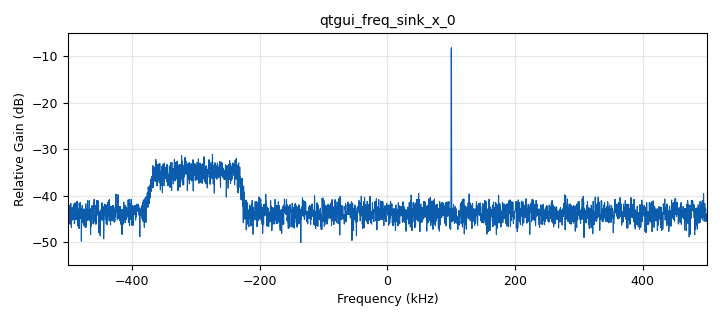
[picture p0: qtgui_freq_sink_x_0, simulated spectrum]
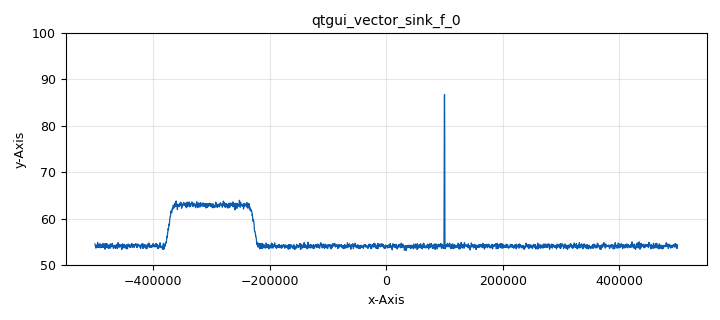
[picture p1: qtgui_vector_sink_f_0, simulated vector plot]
options:
  parameters:
    author: Daniel Estevez
    generate_options: qt_gui
    id: spectral_analysis
    output_language: python
    title: Spectral Analysis
  states: {}

blocks:
- name: decimation
  id: variable
  parameters:
    value: round(t_int * samp_rate / nfft)
  states: {}
- name: n0
  id: variable
  parameters:
    value: noise_amplitude**2 / samp_rate
  states: {}
- name: nfft
  id: variable
  parameters:
    value: '4096'
  states: {}
- name: noise_amplitude
  id: variable
  parameters:
    value: '1'
  states: {}
- name: samp_rate
  id: variable
  parameters:
    value: '1_000_000'
  states: {}
- name: t_int
  id: variable
  parameters:
    value: '1'
  states: {}
- name: tone_cn0
  id: variable_qtgui_entry
  parameters:
    label: Tone CN0
    type: real
    value: '60'
  states: {}
- name: tone_frequency
  id: variable_qtgui_entry
  parameters:
    label: Tone Frequency
    type: real
    value: 100e3
  states: {}
- name: wideband_bandwidth
  id: variable_qtgui_entry
  parameters:
    label: Wideband Bandwidth
    type: real
    value: 150e3
  states: {}
- name: wideband_cn0
  id: variable_qtgui_entry
  parameters:
    label: Wideband CN0
    type: real
    value: '60'
  states: {}
- name: wideband_frequency
  id: variable_qtgui_entry
  parameters:
    label: Wideband Frequency
    type: real
    value: '-300e3'
  states: {}
- name: analog_noise_source_x_0
  id: analog_noise_source_x
  parameters:
    amp: noise_amplitude
    noise_type: analog.GR_GAUSSIAN
    seed: '0'
    type: complex
  states: {}
- name: analog_noise_source_x_1
  id: analog_noise_source_x
  parameters:
    amp: np.sqrt(10**(wideband_cn0 / 10) * n0)
    noise_type: analog.GR_GAUSSIAN
    seed: '0'
    type: complex
  states: {}
- name: analog_sig_source_x_0
  id: analog_sig_source_x
  parameters:
    amp: np.sqrt(10**(tone_cn0 / 10) * n0)
    freq: tone_frequency
    offset: '0'
    phase: '0'
    samp_rate: samp_rate
    type: complex
    waveform: analog.GR_COS_WAVE
  states: {}
- name: analog_sig_source_x_1
  id: analog_sig_source_x
  parameters:
    amp: '1'
    freq: wideband_frequency
    offset: '0'
    phase: '0'
    samp_rate: samp_rate
    type: complex
    waveform: analog.GR_COS_WAVE
  states: {}
- name: blocks_add_xx_0
  id: blocks_add_xx
  parameters:
    num_inputs: '3'
    type: complex
  states: {}
- name: blocks_complex_to_mag_squared_0
  id: blocks_complex_to_mag_squared
  parameters:
    vlen: nfft
  states: {}
- name: blocks_integrate_xx_0
  id: blocks_integrate_xx
  parameters:
    decim: decimation
    type: float
    vlen: nfft
  states: {}
- name: blocks_multiply_xx_0
  id: blocks_multiply_xx
  parameters:
    type: complex
  states: {}
- name: blocks_nlog10_ff_0
  id: blocks_nlog10_ff
  parameters:
    k: '0'
    n: '10'
    vlen: nfft
  states: {}
- name: blocks_repeat_0
  id: blocks_repeat
  parameters:
    interp: '100'
    type: float
    vlen: nfft
  states: {}
- name: blocks_stream_to_vector_0
  id: blocks_stream_to_vector
  parameters:
    num_items: '4096'
    type: complex
  states: {}
- name: blocks_throttle2_0
  id: blocks_throttle2
  parameters:
    samples_per_second: samp_rate
    type: complex
  states: {}
- name: fft_vxx_0
  id: fft_vxx
  parameters:
    fft_size: nfft
    forward: 'True'
    shift: 'True'
    type: complex
    window: window.blackmanharris(nfft)
  states: {}
- name: import_0
  id: import
  parameters:
    imports: import numpy as np
  states: {}
- name: pfb_arb_resampler_xxx_0
  id: pfb_arb_resampler_xxx
  parameters:
    atten: '100'
    nfilts: '32'
    rrate: samp_rate / wideband_bandwidth
    type: ccf
  states: {}
- name: qtgui_freq_sink_x_0
  id: qtgui_freq_sink_x
  parameters:
    average: '0.1'
    bw: samp_rate
    fc: '0'
    fftsize: '4096'
    type: complex
    wintype: window.WIN_BLACKMAN
    ymax: '-5'
    ymin: '-55'
  states: {}
- name: qtgui_vector_sink_f_0
  id: qtgui_vector_sink_f
  parameters:
    vlen: nfft
    x_start: '-samp_rate/2'
    x_step: samp_rate/nfft
    ymax: '100'
    ymin: '50'
  states: {}
- name: virtual_sink_0
  id: virtual_sink
  parameters:
    stream_id: signal
  states: {}
- name: virtual_source_0
  id: virtual_source
  parameters:
    stream_id: signal
  states: {}

connections:
- [analog_noise_source_x_0, '0', blocks_throttle2_0, '0']
- [analog_noise_source_x_1, '0', pfb_arb_resampler_xxx_0, '0']
- [analog_sig_source_x_0, '0', blocks_add_xx_0, '1']
- [analog_sig_source_x_1, '0', blocks_multiply_xx_0, '1']
- [blocks_add_xx_0, '0', qtgui_freq_sink_x_0, '0']
- [blocks_add_xx_0, '0', virtual_sink_0, '0']
- [blocks_complex_to_mag_squared_0, '0', blocks_integrate_xx_0, '0']
- [blocks_integrate_xx_0, '0', blocks_nlog10_ff_0, '0']
- [blocks_multiply_xx_0, '0', blocks_add_xx_0, '2']
- [blocks_nlog10_ff_0, '0', blocks_repeat_0, '0']
- [blocks_repeat_0, '0', qtgui_vector_sink_f_0, '0']
- [blocks_stream_to_vector_0, '0', fft_vxx_0, '0']
- [blocks_throttle2_0, '0', blocks_add_xx_0, '0']
- [fft_vxx_0, '0', blocks_complex_to_mag_squared_0, '0']
- [pfb_arb_resampler_xxx_0, '0', blocks_multiply_xx_0, '0']
- [virtual_source_0, '0', blocks_stream_to_vector_0, '0']

metadata:
  file_format: 1
  grc_version: 3.10.10.0
